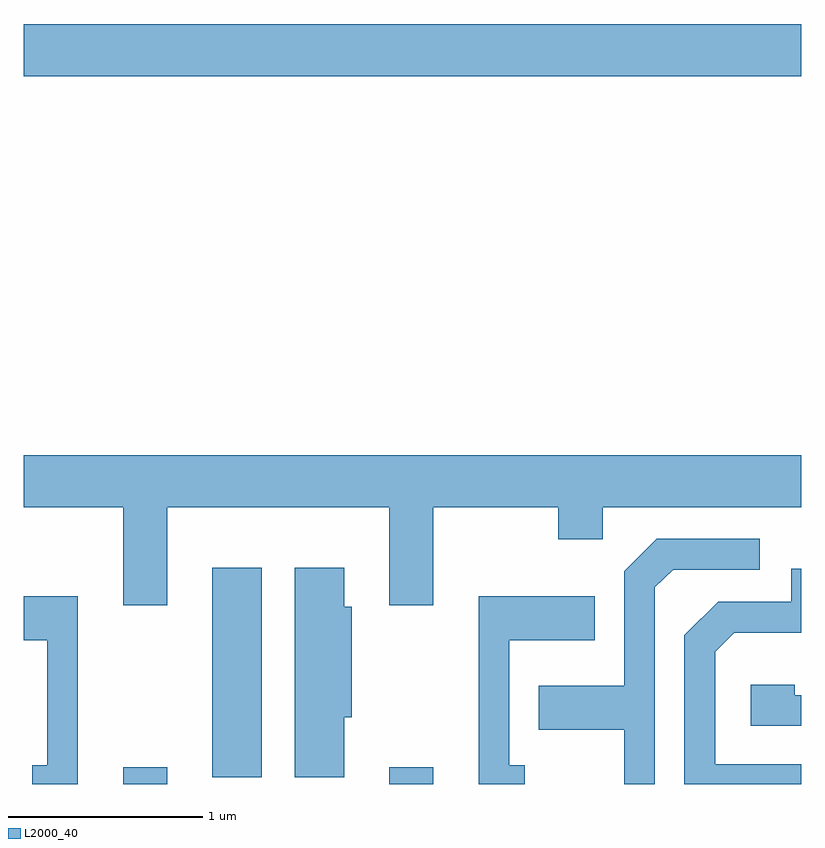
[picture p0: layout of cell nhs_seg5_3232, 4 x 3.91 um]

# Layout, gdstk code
import gdstk
lib = gdstk.Library(unit=1e-6, precision=1e-09)
def R(c, l, rs):  # rectangles x0, y0, x1, y1
    for r in rs: c.add(gdstk.rectangle(r[:2], r[2:], *l))
def P(c, l, *ps):  # polygons
    for p in ps: c.add(gdstk.Polygon(p, *l))
L2000_40 = (2000, 40)

nhs_seg5_3232 = lib.new_cell('nhs_seg5_3232')
R(nhs_seg5_3232, L2000_40, [(282.121,1422.072,282.349,1422.159), (283.491,1422.072,283.719,1422.159), (282.581,1422.106,282.834,1423.184), (281.611,1425.716,285.611,1425.984)])
P(nhs_seg5_3232, L2000_40, [(282.349,1423.496),(283.491,1423.496),(283.491,1422.991),(283.719,1422.991),(283.719,1423.496),(284.361,1423.496),(284.361,1423.331),(284.589,1423.331),(284.589,1423.496),(285.611,1423.496),(285.611,1423.764),(281.611,1423.764),(281.611,1423.496),(282.121,1423.496),(282.121,1422.991),(282.349,1422.991)],
  [(284.859,1423.084),(284.952,1423.176),(285.398,1423.176),(285.398,1423.334),(284.869,1423.334),(284.701,1423.167),(284.701,1422.579),(284.261,1422.579),(284.261,1422.351),(284.701,1422.351),(284.701,1422.072),(284.859,1422.072)],
  [(283.259,1422.416),(283.299,1422.416),(283.299,1422.984),(283.259,1422.984),(283.259,1423.184),(283.006,1423.184),(283.006,1422.106),(283.259,1422.106)],
  [(285.611,1422.174),(285.169,1422.174),(285.169,1422.754),(285.267,1422.851),(285.611,1422.851),(285.611,1423.179),(285.561,1423.179),(285.561,1423.009),(285.184,1423.009),(285.011,1422.837),(285.011,1422.072),(285.611,1422.072)],
  [(281.889,1423.039),(281.611,1423.039),(281.611,1422.811),(281.731,1422.811),(281.731,1422.169),(281.653,1422.169),(281.653,1422.072),(281.889,1422.072)],
  [(284.188,1422.169),(284.109,1422.169),(284.109,1422.811),(284.549,1422.811),(284.549,1423.039),(283.951,1423.039),(283.951,1422.072),(284.188,1422.072)],
  [(285.611,1422.529),(285.579,1422.529),(285.579,1422.584),(285.351,1422.584),(285.351,1422.371),(285.611,1422.371)])

lib.write_gds('nhs_seg5_3232.gds')
